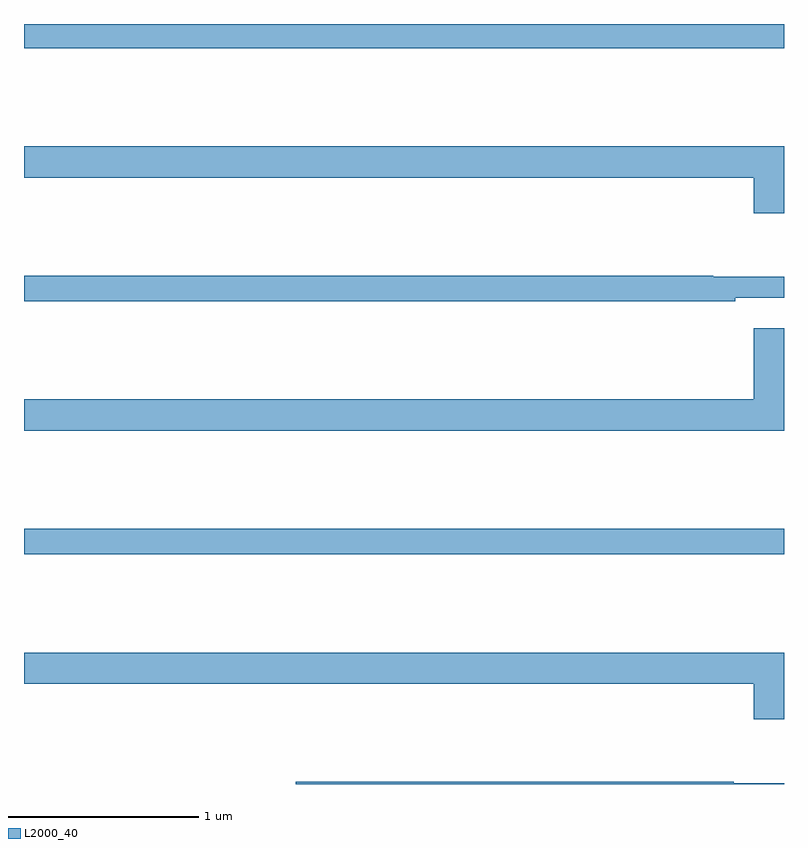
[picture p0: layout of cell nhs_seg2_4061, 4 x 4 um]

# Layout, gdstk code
import gdstk
lib = gdstk.Library(unit=1e-6, precision=1e-09)
def R(c, l, rs):  # rectangles x0, y0, x1, y1
    for r in rs: c.add(gdstk.rectangle(r[:2], r[2:], *l))
def P(c, l, *ps):  # polygons
    for p in ps: c.add(gdstk.Polygon(p, *l))
L2000_40 = (2000, 40)

nhs_seg2_4061 = lib.new_cell('nhs_seg2_4061')
R(nhs_seg2_4061, L2000_40, [(329,623.008,333,623.144), (329,625.672,333,625.8)])
P(nhs_seg2_4061, L2000_40, [(333,625.156),(329,625.156),(329,624.992),(332.84,624.992),(332.84,624.804),(333,624.804)],
  [(332.744,624.359),(333,624.359),(333,624.469),(332.627,624.469),(332.627,624.476),(329,624.476),(329,624.34),(332.744,624.34)],
  [(333,624.199),(332.84,624.199),(332.84,623.824),(329,623.824),(329,623.66),(333,623.66)],
  [(329,622.328),(332.84,622.328),(332.84,622.14),(333,622.14),(333,622.492),(329,622.492)],
  [(333,621.805),(332.735,621.805),(332.735,621.812),(330.431,621.812),(330.431,621.8),(333,621.8)])

lib.write_gds('nhs_seg2_4061.gds')
